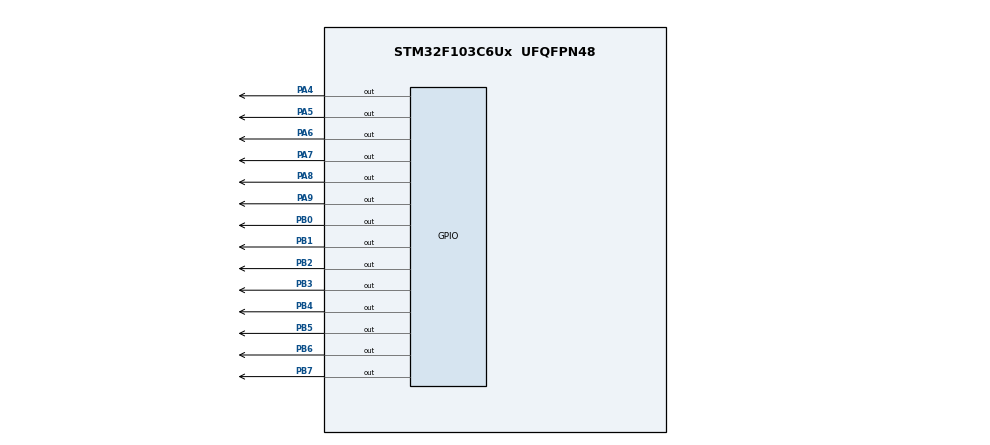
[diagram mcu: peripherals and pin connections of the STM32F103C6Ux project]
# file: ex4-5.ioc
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Mcu.Family=STM32F1
Mcu.Name=STM32F103C6Ux
Mcu.Package=UFQFPN48
NVIC.PriorityGroup=NVIC_PRIORITYGROUP_4
NVIC.TIM2_IRQn=true\:0\:0\:false\:false\:true\:true\:true
PA4.Signal=GPIO_Output
PA5.Signal=GPIO_Output
PA6.Signal=GPIO_Output
PA7.Signal=GPIO_Output
PA8.Signal=GPIO_Output
PA9.Signal=GPIO_Output
PB0.Signal=GPIO_Output
PB1.Signal=GPIO_Output
PB2.Signal=GPIO_Output
PB3.Signal=GPIO_Output
PB4.Signal=GPIO_Output
PB5.Signal=GPIO_Output
PB6.Signal=GPIO_Output
PB7.Signal=GPIO_Output
ProjectManager.HeapSize=0x200
ProjectManager.StackSize=0x400
ProjectManager.TargetToolchain=STM32CubeIDE
RCC.APB1Freq_Value=8000000
RCC.APB2Freq_Value=8000000
TIM2.Period=9
TIM2.Prescaler=7999
VP_SYS_VS_ND.Mode=No_Debug
VP_TIM2_VS_ClockSourceINT.Mode=Internal
board=custom

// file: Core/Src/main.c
/* USER CODE BEGIN Header */
/**
 ******************************************************************************
 * @file           : main.c
 * @brief          : Main program body
 ******************************************************************************
 * @attention
 *
 * Copyright (c) 2022 STMicroelectronics.
 * All rights reserved.
 *
 * This software is licensed under terms that can be found in the LICENSE file
 * in the root directory of this software component.
 * If no LICENSE file comes with this software, it is provided AS-IS.
 *
 ******************************************************************************
 */
/* USER CODE END Header */
#include "main.h"

/* USER CODE BEGIN Includes */
#include"ex4-5.h"
/* USER CODE END Includes */

TIM_HandleTypeDef htim2;

/* USER CODE BEGIN PV */
uint16_t pin7 [4] = { GPIO_PIN_6 , GPIO_PIN_7 , GPIO_PIN_8 ,
GPIO_PIN_9 };
int buffer[4] = {1, 2, 3, 4};
int hour = 15;
int minute = 8;
int second = 50;
int counter=100; int index=0;
/* USER CODE END PV */

void SystemClock_Config(void);
static void MX_GPIO_Init(void);
static void MX_TIM2_Init(void);

/* USER CODE BEGIN 0 */

 void clearLED () {
  HAL_GPIO_WritePin ( GPIOA , GPIO_PIN_6 | GPIO_PIN_7 | GPIO_PIN_8 |
		  GPIO_PIN_9 , GPIO_PIN_SET ) ;
  HAL_GPIO_WritePin ( GPIOB , GPIO_PIN_0 | GPIO_PIN_1 | GPIO_PIN_2 |
		  GPIO_PIN_3 | GPIO_PIN_4 | GPIO_PIN_5 |
		  GPIO_PIN_6 , GPIO_PIN_SET ) ;
		  }
 void display7seg( int index, int num ) {
	 HAL_GPIO_WritePin( GPIOA ,pin7[ index ], GPIO_PIN_RESET );
  char led7seg[10] = {0xC0, 0xF9, 0xA4, 0xB0, 0x99, 0x92, 0x82, 0xF8, 0x80, 0x90};
   for ( int i = 0; i < 7; i ++) {
   HAL_GPIO_WritePin(GPIOB,GPIO_PIN_0<<i ,(led7seg[num]>>i)&1) ;
   }
 }
 void updateClockBuffer () {
	  buffer [0] = hour / 10;
	  buffer [1] = hour % 10;
	  buffer [2] = minute / 10;
	  buffer [3] = minute % 10;
	  }
 void update7SEG (int index ) {
	 clearLED();
	 display7seg(index, buffer[index] );
}

/* USER CODE END 0 */

int main(void)
{

  /* MCU Configuration--------------------------------------------------------*/

  /* Reset of all peripherals, Initializes the Flash interface and the Systick. */
  HAL_Init();

  /* Configure the system clock */
  SystemClock_Config();

  /* Initialize all configured peripherals */
  MX_GPIO_Init();
  MX_TIM2_Init();
  /* USER CODE BEGIN 2 */
    HAL_TIM_Base_Start_IT(&htim2);
  /* USER CODE END 2 */

  /* Infinite loop */
  while (1)
  {
	  second++;
	          if (second >= 60) {
	              second = 0;
	              minute++;
	          }
	          if (minute >= 60) {
	              minute = 0;
	              hour++;
	          }
	          if (hour >= 24) {
	              hour = 0;
	          }
	          updateClockBuffer();
	          HAL_Delay(1000);
	      }

  /* USER CODE END 3 */
}

void SystemClock_Config(void)
{
  RCC_OscInitTypeDef RCC_OscInitStruct = {0};
  RCC_ClkInitTypeDef RCC_ClkInitStruct = {0};

  /** Initializes the RCC Oscillators according to the specified parameters
  * in the RCC_OscInitTypeDef structure.
  */
  RCC_OscInitStruct.OscillatorType = RCC_OSCILLATORTYPE_HSI;
  RCC_OscInitStruct.HSIState = RCC_HSI_ON;
  RCC_OscInitStruct.HSICalibrationValue = RCC_HSICALIBRATION_DEFAULT;
  RCC_OscInitStruct.PLL.PLLState = RCC_PLL_NONE;
  if (HAL_RCC_OscConfig(&RCC_OscInitStruct) != HAL_OK)
  {
    Error_Handler();
  }
  /** Initializes the CPU, AHB and APB buses clocks
  */
  RCC_ClkInitStruct.ClockType = RCC_CLOCKTYPE_HCLK|RCC_CLOCKTYPE_SYSCLK
                              |RCC_CLOCKTYPE_PCLK1|RCC_CLOCKTYPE_PCLK2;
  RCC_ClkInitStruct.SYSCLKSource = RCC_SYSCLKSOURCE_HSI;
  RCC_ClkInitStruct.AHBCLKDivider = RCC_SYSCLK_DIV1;
  RCC_ClkInitStruct.APB1CLKDivider = RCC_HCLK_DIV1;
  RCC_ClkInitStruct.APB2CLKDivider = RCC_HCLK_DIV1;

  if (HAL_RCC_ClockConfig(&RCC_ClkInitStruct, FLASH_LATENCY_0) != HAL_OK)
  {
    Error_Handler();
  }
}

static void MX_TIM2_Init(void)
{

  TIM_ClockConfigTypeDef sClockSourceConfig = {0};
  TIM_MasterConfigTypeDef sMasterConfig = {0};

  htim2.Instance = TIM2;
  htim2.Init.Prescaler = 7999;
  htim2.Init.CounterMode = TIM_COUNTERMODE_UP;
  htim2.Init.Period = 9;
  htim2.Init.ClockDivision = TIM_CLOCKDIVISION_DIV1;
  htim2.Init.AutoReloadPreload = TIM_AUTORELOAD_PRELOAD_DISABLE;
  if (HAL_TIM_Base_Init(&htim2) != HAL_OK)
  {
    Error_Handler();
  }
  sClockSourceConfig.ClockSource = TIM_CLOCKSOURCE_INTERNAL;
  if (HAL_TIM_ConfigClockSource(&htim2, &sClockSourceConfig) != HAL_OK)
  {
    Error_Handler();
  }
  sMasterConfig.MasterOutputTrigger = TIM_TRGO_RESET;
  sMasterConfig.MasterSlaveMode = TIM_MASTERSLAVEMODE_DISABLE;
  if (HAL_TIMEx_MasterConfigSynchronization(&htim2, &sMasterConfig) != HAL_OK)
  {
    Error_Handler();
  }

}

static void MX_GPIO_Init(void)
{
  GPIO_InitTypeDef GPIO_InitStruct = {0};

  /* GPIO Ports Clock Enable */
  __HAL_RCC_GPIOA_CLK_ENABLE();
  __HAL_RCC_GPIOB_CLK_ENABLE();

  /*Configure GPIO pin Output Level */
  HAL_GPIO_WritePin(GPIOA, GPIO_PIN_4|GPIO_PIN_5|GPIO_PIN_6|GPIO_PIN_7
                          |GPIO_PIN_8|GPIO_PIN_9, GPIO_PIN_RESET);

  /*Configure GPIO pin Output Level */
  HAL_GPIO_WritePin(GPIOB, GPIO_PIN_0|GPIO_PIN_1|GPIO_PIN_2|GPIO_PIN_3
                          |GPIO_PIN_4|GPIO_PIN_5|GPIO_PIN_6|GPIO_PIN_7, GPIO_PIN_RESET);

  /*Configure GPIO pins : PA4 PA5 PA6 PA7
                           PA8 PA9 */
  GPIO_InitStruct.Pin = GPIO_PIN_4|GPIO_PIN_5|GPIO_PIN_6|GPIO_PIN_7
                          |GPIO_PIN_8|GPIO_PIN_9;
  GPIO_InitStruct.Mode = GPIO_MODE_OUTPUT_PP;
  GPIO_InitStruct.Pull = GPIO_NOPULL;
  GPIO_InitStruct.Speed = GPIO_SPEED_FREQ_LOW;
  HAL_GPIO_Init(GPIOA, &GPIO_InitStruct);

  /*Configure GPIO pins : PB0 PB1 PB2 PB3
                           PB4 PB5 PB6 PB7 */
  GPIO_InitStruct.Pin = GPIO_PIN_0|GPIO_PIN_1|GPIO_PIN_2|GPIO_PIN_3
                          |GPIO_PIN_4|GPIO_PIN_5|GPIO_PIN_6|GPIO_PIN_7;
  GPIO_InitStruct.Mode = GPIO_MODE_OUTPUT_PP;
  GPIO_InitStruct.Pull = GPIO_NOPULL;
  GPIO_InitStruct.Speed = GPIO_SPEED_FREQ_LOW;
  HAL_GPIO_Init(GPIOB, &GPIO_InitStruct);

}

/* USER CODE BEGIN 4 */

void HAL_TIM_PeriodElapsedCallback(TIM_HandleTypeDef *htim) {
    counter--;
    if (counter == 50|| counter == 0) {
        if (counter == 0) {
            counter = 100;
            HAL_GPIO_TogglePin(GPIOA, GPIO_PIN_4 | GPIO_PIN_5);
        }
        clearLED();
        display7seg(index, buffer[index]);
        index++;
        if (index >= 4) index = 0;
    }
}
/* USER CODE END 4 */

void Error_Handler(void)
{
    __disable_irq();
    while (1)
    {
    }
}

/************************ (C) COPYRIGHT STMicroelectronics *****END OF FILE****/
